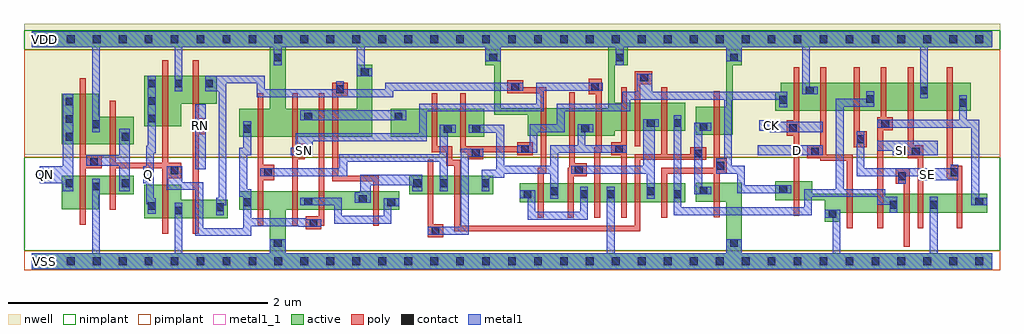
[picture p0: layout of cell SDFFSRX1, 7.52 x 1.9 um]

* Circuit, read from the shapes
.subckt SDFFSRX1 CK D Q QN RN SE SI SN VDD VSS
M1 VSS n1 QN VSS nfet w=0.26u l=0.045u
M2 n1 n2 VSS VSS nfet w=0.145u l=0.045u
M3 VSS n2 Q VSS nfet w=0.26u l=0.045u
M4 n3 RN VSS VSS nfet w=0.145u l=0.045u
M5 VSS n4 n2 VSS nfet w=0.145u l=0.045u
M6 n5 SN VSS VSS nfet w=0.145u l=0.045u
M7 n6 n2 n5 VSS nfet w=0.145u l=0.045u
M8 n5 n3 n6 VSS nfet w=0.145u l=0.045u
M9 n4 n7 n6 VSS nfet w=0.145u l=0.045u
M10 n8 n9 n4 VSS nfet w=0.145u l=0.045u
M11 n8 n3 n10 VSS nfet w=0.145u l=0.045u
M12 n10 n11 n8 VSS nfet w=0.145u l=0.045u
M13 VSS SN n10 VSS nfet w=0.145u l=0.045u
M14 n12 n8 VSS VSS nfet w=0.145u l=0.045u
M15 n11 n9 n12 VSS nfet w=0.145u l=0.045u
M16 n13 n7 n11 VSS nfet w=0.145u l=0.045u
M17 VSS n7 n9 VSS nfet w=0.145u l=0.045u
M18 VSS CK n7 VSS nfet w=0.145u l=0.045u
M19 n14 D VSS VSS nfet w=0.145u l=0.045u
M20 n13 n15 n14 VSS nfet w=0.145u l=0.045u
M21 n16 SE n13 VSS nfet w=0.145u l=0.045u
M22 VSS SI n16 VSS nfet w=0.145u l=0.045u
M23 n15 SE VSS VSS nfet w=0.145u l=0.045u
M24 VDD n1 QN VDD pfet w=0.39u l=0.045u
M25 n1 n2 VDD VDD pfet w=0.215u l=0.045u
M26 VDD n2 Q VDD pfet w=0.39u l=0.045u
M27 n3 RN VDD VDD pfet w=0.215u l=0.045u
M28 VDD n4 n2 VDD pfet w=0.215u l=0.045u
M29 n17 SN VDD VDD pfet w=0.215u l=0.045u
M30 n18 n2 n17 VDD pfet w=0.215u l=0.045u
M31 VDD n3 n18 VDD pfet w=0.215u l=0.045u
M32 n4 n9 n17 VDD pfet w=0.215u l=0.045u
M33 n8 n7 n4 VDD pfet w=0.215u l=0.045u
M34 n19 n3 VDD VDD pfet w=0.215u l=0.045u
M35 n8 n11 n19 VDD pfet w=0.215u l=0.045u
M36 VDD SN n8 VDD pfet w=0.215u l=0.045u
M37 n20 n8 VDD VDD pfet w=0.215u l=0.045u
M38 n11 n7 n20 VDD pfet w=0.215u l=0.045u
M39 n13 n9 n11 VDD pfet w=0.215u l=0.045u
M40 VDD n7 n9 VDD pfet w=0.215u l=0.045u
M41 VDD CK n7 VDD pfet w=0.215u l=0.045u
M42 n21 D VDD VDD pfet w=0.215u l=0.045u
M43 n13 SE n21 VDD pfet w=0.215u l=0.045u
M44 n22 n15 n13 VDD pfet w=0.215u l=0.045u
M45 VDD SI n22 VDD pfet w=0.215u l=0.045u
M46 n15 SE VDD VDD pfet w=0.215u l=0.045u
.ends

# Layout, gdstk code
import gdstk
lib = gdstk.Library(unit=1e-6, precision=5e-10)
def R(c, l, rs):  # rectangles x0, y0, x1, y1
    for r in rs: c.add(gdstk.rectangle(r[:2], r[2:], *l))
def A(c, l, x, y, w, h, nx, ny, dx, dy):  # array of equal rectangles
    R(c, l, [(x+i*dx, y+j*dy, x+i*dx+w, y+j*dy+h) for i in range(nx) for j in range(ny)])
def P(c, l, *ps):  # polygons
    for p in ps: c.add(gdstk.Polygon(p, *l))
active = (1, 0)
nwell = (2, 0)
poly = (3, 0)
nimplant = (4, 0)
pimplant = (5, 0)
contact = (6, 0)
metal1 = (7, 0)
metal1_1 = (7, 1)

sdffsrx1 = lib.new_cell('SDFFSRX1')
R(sdffsrx1, active, [(3.76,0.455,5.035,0.6), (2.91,0.515,3.555,0.66), (2.765,0.96,3.485,1.175)])
P(sdffsrx1, active, [(0,1.77),(7.4,1.77),(7.4,1.65),(5.47,1.65),(5.47,1.51),(5.4,1.51),(5.4,0.975),(5.115,0.975),(5.115,1.19),(5.35,1.19),(5.35,1.65),(4.59,1.65),(4.59,1.51),(4.49,1.51),(4.49,1.22),(5.035,1.22),(5.035,1.005),(4.49,1.005),(4.49,0.965),(3.82,0.965),(3.82,1.13),(3.565,1.13),(3.565,1.51),(3.495,1.51),(3.495,1.65),(3.615,1.65),(3.615,1.18),(4.44,1.18),(4.44,1.65),(1.955,1.65),(1.955,1.175),(2.505,1.175),(2.505,1.515),(2.625,1.515),(2.625,0.96),(1.6,0.96),(1.6,1.175),(1.835,1.175),(1.835,1.65),(0,1.65)],
  [(0.865,1.43),(1.425,1.43),(1.425,1.215),(1.15,1.215),(1.15,1.04),(0.865,1.04)],
  [(0.23,1.29),(0.515,1.29),(0.515,1.115),(0.785,1.115),(0.785,0.9),(0.23,0.9)],
  [(5.77,1.375),(7.235,1.375),(7.235,1.16),(5.73,1.16),(5.73,1.305),(5.77,1.305)],
  [(0.23,0.66),(0.785,0.66),(0.785,0.515),(0.515,0.515),(0.515,0.4),(0.23,0.4)],
  [(0.865,0.59),(1.15,0.59),(1.15,0.475),(1.51,0.475),(1.51,0.33),(0.865,0.33)],
  [(1.6,0.54),(2.83,0.54),(2.83,0.395),(1.955,0.395),(1.955,0.06),(5.35,0.06),(5.35,0.46),(5.115,0.46),(5.115,0.605),(5.47,0.605),(5.47,0.06),(7.4,0.06),(7.4,-0.06),(0,-0.06),(0,0.06),(1.835,0.06),(1.835,0.395),(1.6,0.395)],
  [(5.73,0.615),(6.015,0.615),(6.015,0.52),(7.36,0.52),(7.36,0.375),(6.23,0.375),(6.23,0.305),(6.11,0.305),(6.11,0.47),(5.73,0.47)])
R(sdffsrx1, nwell, [(-0.06,0.82,7.46,1.83)])
P(sdffsrx1, poly, [(0.37,1.41),(0.415,1.41),(0.415,0.815),(0.54,0.815),(0.54,0.715),(0.415,0.715),(0.415,0.28),(0.37,0.28)],
  [(0.6,1.235),(0.645,1.235),(0.645,0.76),(1.005,0.76),(1.005,1.55),(1.05,1.55),(1.05,0.76),(1.15,0.76),(1.15,0.64),(1.05,0.64),(1.05,0.21),(1.005,0.21),(1.005,0.715),(0.645,0.715),(0.645,0.395),(0.6,0.395)],
  [(1.24,1.55),(1.285,1.55),(1.285,1.1),(1.34,1.1),(1.34,0.98),(1.285,0.98),(1.285,0.21),(1.24,0.21)],
  [(1.74,1.295),(1.785,1.295),(1.785,0.745),(1.87,0.745),(1.87,0.625),(1.785,0.625),(1.785,0.275),(1.74,0.275)],
  [(2.315,1.375),(2.435,1.375),(2.435,1.275),(2.36,1.275),(2.36,0.66),(2.675,0.66),(2.675,0.275),(2.63,0.275),(2.63,0.615),(2.315,0.615)],
  [(2.005,1.295),(2.05,1.295),(2.05,0.905),(2.105,0.905),(2.105,0.785),(2.05,0.785),(2.05,0.275),(2.005,0.275)],
  [(2.21,1.295),(2.255,1.295),(2.255,0.275),(2.23,0.275),(2.23,0.245),(2.11,0.245),(2.11,0.345),(2.21,0.345)],
  [(3.08,1.295),(3.125,1.295),(3.125,0.885),(3.24,0.885),(3.24,0.78),(3.3,0.78),(3.3,0.275),(4.645,0.275),(4.645,0.825),(4.85,0.825),(4.85,1.34),(4.895,1.34),(4.895,0.825),(5.075,0.825),(5.075,0.88),(5.195,0.88),(5.195,0.78),(4.69,0.78),(4.69,0.23),(3.255,0.23),(3.255,0.735),(3.195,0.735),(3.195,0.84),(3.08,0.84)],
  [(3.3,1.295),(3.345,1.295),(3.345,0.885),(3.74,0.885),(3.74,0.915),(3.86,0.915),(3.86,0.815),(3.74,0.815),(3.74,0.84),(3.48,0.84),(3.48,0.785),(3.36,0.785),(3.36,0.84),(3.3,0.84)],
  [(4.29,1.405),(4.39,1.405),(4.39,0.845),(4.38,0.845),(4.38,0.335),(4.335,0.335),(4.335,0.88),(4.345,0.88),(4.345,1.285),(4.29,1.285)],
  [(3.665,1.395),(3.785,1.395),(3.785,1.34),(3.965,1.34),(3.965,0.675),(3.945,0.675),(3.945,0.335),(3.9,0.335),(3.9,0.72),(3.92,0.72),(3.92,1.295),(3.665,1.295)],
  [(4.14,1.3),(4.185,1.3),(4.185,0.755),(4.275,0.755),(4.275,0.655),(4.175,0.655),(4.175,0.335),(4.13,0.335),(4.13,0.72),(4.14,0.72)],
  [(4.645,1.465),(4.78,1.465),(4.78,1.365),(4.69,1.365),(4.69,0.885),(4.645,0.885)],
  [(4.54,1.34),(4.585,1.34),(4.585,0.335),(4.54,0.335),(4.54,0.815),(4.465,0.815),(4.465,0.915),(4.54,0.915)],
  [(5.255,1.31),(5.3,1.31),(5.3,0.795),(5.355,0.795),(5.355,0.675),(5.3,0.675),(5.3,0.34),(5.255,0.34),(5.255,0.675),(4.895,0.675),(4.895,0.335),(4.85,0.335),(4.85,0.72),(5.255,0.72)],
  [(5.87,1.495),(5.915,1.495),(5.915,0.35),(5.87,0.35),(5.87,0.965),(5.815,0.965),(5.815,1.085),(5.87,1.085)],
  [(6.075,1.495),(6.12,1.495),(6.12,0.82),(6.325,0.82),(6.325,0.255),(6.28,0.255),(6.28,0.775),(6.075,0.775),(6.075,0.795),(5.975,0.795),(5.975,0.895),(6.075,0.895)],
  [(6.335,1.495),(6.38,1.495),(6.38,1),(6.435,1),(6.435,0.88),(6.335,0.88)],
  [(6.54,1.495),(6.585,1.495),(6.585,1.11),(6.635,1.11),(6.635,1.01),(6.56,1.01),(6.56,0.255),(6.515,0.255),(6.515,1.11),(6.54,1.11)],
  [(6.75,1.495),(6.795,1.495),(6.795,0.895),(6.87,0.895),(6.87,0.255),(6.825,0.255),(6.825,0.795),(6.75,0.795)],
  [(7.05,1.495),(7.095,1.495),(7.095,0.735),(7.17,0.735),(7.17,0.255),(7.125,0.255),(7.125,0.635),(7.05,0.635)],
  [(3.05,0.78),(3.095,0.78),(3.095,0.285),(3.17,0.285),(3.17,0.185),(3.05,0.185)],
  [(6.655,0.715),(6.765,0.715),(6.765,0.11),(6.72,0.11),(6.72,0.595),(6.655,0.595)])
R(sdffsrx1, nimplant, [(-0.06,0.08,7.46,0.8), (-0.06,1.63,7.46,1.78)])
R(sdffsrx1, pimplant, [(-0.06,-0.07,7.46,0.08), (-0.06,0.8,7.46,1.63)])
A(sdffsrx1, contact, 0.07, -0.03, 0.06, 0.06, 37, 2, 0.2, 1.71)
A(sdffsrx1, contact, 0.26, 0.93, 0.06, 0.06, 1, 3, 0, 0.135)
A(sdffsrx1, contact, 0.895, 1.07, 0.06, 0.06, 1, 3, 0, 0.135)
R(sdffsrx1, contact, [(1.865,0.11,1.925,0.17), (5.38,0.11,5.44,0.17), (3.08,0.205,3.14,0.265), (2.14,0.265,2.2,0.325), (6.14,0.335,6.2,0.395), (1.1,0.36,1.16,0.42), (1.42,0.385,1.48,0.445), (0.895,0.395,0.955,0.455), (6.61,0.405,6.67,0.465), (6.92,0.405,6.98,0.465), (1.63,0.425,1.69,0.485), (2.74,0.425,2.8,0.485), (2.1,0.43,2.16,0.49), (7.27,0.43,7.33,0.49), (2.52,0.45,2.58,0.51), (3.79,0.485,3.85,0.545), (4.225,0.485,4.285,0.545), (4.43,0.485,4.49,0.545), (4.945,0.485,5.005,0.545), (3.995,0.51,4.055,0.57), (4.74,0.51,4.8,0.57), (5.145,0.515,5.205,0.575), (5.76,0.525,5.82,0.585), (0.465,0.545,0.525,0.605), (0.26,0.57,0.32,0.63), (0.695,0.57,0.755,0.63), (2.94,0.57,3,0.63), (3.145,0.57,3.205,0.63), (3.465,0.57,3.525,0.63), (6.675,0.625,6.735,0.685), (1.79,0.655,1.85,0.715), (7.08,0.655,7.14,0.715), (1.07,0.67,1.13,0.73), (4.185,0.675,4.245,0.735), (5.275,0.705,5.335,0.765), (0.45,0.735,0.51,0.795), (5.105,0.8,5.165,0.86), (3.39,0.805,3.45,0.865), (2.025,0.815,2.085,0.875), (6.005,0.815,6.065,0.875), (6.78,0.815,6.84,0.875), (3.77,0.835,3.83,0.895), (4.495,0.835,4.555,0.895), (6.355,0.91,6.415,0.97), (0.695,0.93,0.755,0.99), (1.63,0.99,1.69,1.05), (3.175,0.99,3.235,1.05), (3.395,0.99,3.455,1.05), (4.235,0.995,4.295,1.055), (5.835,0.995,5.895,1.055), (5.145,1.005,5.205,1.065), (1.26,1.01,1.32,1.07), (0.465,1.025,0.525,1.085), (6.545,1.03,6.605,1.09), (4.74,1.035,4.8,1.095), (4.945,1.035,5.005,1.095), (2.1,1.085,2.16,1.145), (2.795,1.085,2.855,1.145), (7.145,1.19,7.205,1.25), (5.76,1.215,5.82,1.275), (6.43,1.22,6.49,1.28), (5.965,1.285,6.025,1.345), (6.845,1.285,6.905,1.345), (2.345,1.295,2.405,1.355), (3.695,1.315,3.755,1.375), (4.31,1.315,4.37,1.375), (1.1,1.34,1.16,1.4), (1.335,1.34,1.395,1.4), (4.69,1.385,4.75,1.445), (2.535,1.425,2.595,1.485), (1.865,1.54,1.925,1.6), (3.525,1.54,3.585,1.6), (4.5,1.54,4.56,1.6), (5.38,1.54,5.44,1.6)])
R(sdffsrx1, metal1, [(1.26,0.71,1.34,1.21), (5.595,0.815,6.095,0.895), (2.07,1.085,2.885,1.165)])
P(sdffsrx1, metal1, [(0,1.77),(7.4,1.77),(7.4,1.65),(6.905,1.65),(6.905,1.255),(6.845,1.255),(6.845,1.65),(5.995,1.65),(5.995,1.345),(6.055,1.345),(6.055,1.285),(5.935,1.285),(5.935,1.65),(5.47,1.65),(5.47,1.54),(5.35,1.54),(5.35,1.65),(4.56,1.65),(4.56,1.51),(4.5,1.51),(4.5,1.65),(3.615,1.65),(3.615,1.54),(3.495,1.54),(3.495,1.65),(2.565,1.65),(2.565,1.485),(2.625,1.485),(2.625,1.425),(2.505,1.425),(2.505,1.65),(1.925,1.65),(1.925,1.51),(1.865,1.51),(1.865,1.65),(1.16,1.65),(1.16,1.31),(1.1,1.31),(1.1,1.65),(0.525,1.65),(0.525,0.995),(0.465,0.995),(0.465,1.65),(0,1.65)],
  [(0.24,1.29),(0.32,1.29),(0.32,0.54),(0.24,0.54),(0.24,0.6),(0.06,0.6),(0.06,0.73),(0.24,0.73)],
  [(0.895,1.43),(0.955,1.43),(0.955,0.83),(0.94,0.83),(0.94,0.485),(0.955,0.485),(0.955,0.365),(0.895,0.365),(0.895,0.44),(0.88,0.44),(0.88,0.6),(0.86,0.6),(0.86,0.73),(0.88,0.73),(0.88,0.89),(0.895,0.89)],
  [(0.675,1.02),(0.755,1.02),(0.755,0.54),(0.675,0.54),(0.675,0.735),(0.42,0.735),(0.42,0.815),(0.675,0.815)],
  [(1.335,1.43),(1.795,1.43),(1.795,1.325),(2.345,1.325),(2.345,1.385),(2.405,1.385),(2.405,1.325),(2.725,1.325),(2.725,1.375),(3.785,1.375),(3.785,1.315),(2.785,1.315),(2.785,1.265),(1.735,1.265),(1.735,1.37),(1.5,1.37),(1.5,0.43),(1.48,0.43),(1.48,0.355),(1.42,0.355),(1.42,0.49),(1.44,0.49),(1.44,1.31),(1.335,1.31)],
  [(3.885,1.375),(4.4,1.375),(4.4,1.315),(3.945,1.315),(3.945,1.155),(3.045,1.155),(3.045,0.925),(2.165,0.925),(2.165,0.815),(1.995,0.815),(1.995,0.875),(2.035,0.875),(2.035,0.985),(2.985,0.985),(2.985,1.215),(3.885,1.215)],
  [(4.66,1.445),(4.78,1.445),(4.78,1.305),(5.82,1.305),(5.82,1.185),(5.76,1.185),(5.76,1.245),(5.395,1.245),(5.395,0.735),(5.495,0.735),(5.495,0.585),(5.85,0.585),(5.85,0.525),(5.435,0.525),(5.435,0.675),(5.275,0.675),(5.275,0.795),(5.335,0.795),(5.335,1.245),(4.61,1.245),(4.61,1.155),(4.105,1.155),(4.105,0.995),(3.895,0.995),(3.895,0.835),(3.74,0.835),(3.74,0.895),(3.835,0.895),(3.835,1.055),(4.045,1.055),(4.045,1.215),(4.55,1.215),(4.55,1.305),(4.66,1.305)],
  [(0.465,0.635),(0.525,0.635),(0.525,0.06),(1.1,0.06),(1.1,0.45),(1.16,0.45),(1.16,0.06),(1.835,0.06),(1.835,0.17),(1.955,0.17),(1.955,0.06),(4.43,0.06),(4.43,0.575),(4.49,0.575),(4.49,0.06),(5.35,0.06),(5.35,0.17),(5.47,0.17),(5.47,0.06),(6.17,0.06),(6.17,0.335),(6.11,0.335),(6.11,0.395),(6.23,0.395),(6.23,0.06),(6.92,0.06),(6.92,0.495),(6.98,0.495),(6.98,0.06),(7.4,0.06),(7.4,-0.06),(0,-0.06),(0,0.06),(0.465,0.06)],
  [(1.63,1.08),(1.69,1.08),(1.69,0.815),(1.66,0.815),(1.66,0.555),(1.69,0.555),(1.69,0.33),(2.115,0.33),(2.115,0.325),(2.23,0.325),(2.23,0.265),(2.055,0.265),(2.055,0.27),(1.69,0.27),(1.69,0.195),(1.26,0.195),(1.26,0.55),(1.04,0.55),(1.04,0.73),(1.16,0.73),(1.16,0.61),(1.32,0.61),(1.32,0.255),(1.63,0.255),(1.63,0.495),(1.6,0.495),(1.6,0.875),(1.63,0.875)],
  [(6.43,1.31),(6.49,1.31),(6.49,1.19),(6.255,1.19),(6.255,0.555),(6.575,0.555),(6.575,0.495),(6.67,0.495),(6.67,0.375),(6.61,0.375),(6.61,0.435),(6.515,0.435),(6.515,0.495),(6.01,0.495),(6.01,0.355),(4.945,0.355),(4.945,1.125),(5.005,1.125),(5.005,0.415),(5.95,0.415),(5.95,0.555),(6.195,0.555),(6.195,1.25),(6.43,1.25)],
  [(3.145,1.05),(3.265,1.05),(3.265,0.99),(3.205,0.99),(3.205,0.54),(3.145,0.54),(3.145,0.765),(2.43,0.765),(2.43,0.655),(1.76,0.655),(1.76,0.715),(2.37,0.715),(2.37,0.825),(3.145,0.825)],
  [(3.365,1.05),(3.64,1.05),(3.64,0.735),(3.995,0.735),(3.995,0.895),(4.205,0.895),(4.205,1.055),(4.325,1.055),(4.325,0.995),(4.265,0.995),(4.265,0.895),(4.585,0.895),(4.585,0.835),(4.055,0.835),(4.055,0.48),(3.995,0.48),(3.995,0.675),(3.64,0.675),(3.64,0.645),(3.525,0.645),(3.525,0.54),(3.465,0.54),(3.465,0.705),(3.58,0.705),(3.58,0.99),(3.365,0.99)],
  [(2.53,0.665),(3.01,0.665),(3.01,0.54),(2.93,0.54),(2.93,0.585),(2.61,0.585),(2.61,0.45),(2.49,0.45),(2.49,0.53),(2.53,0.53)],
  [(2.07,0.49),(2.39,0.49),(2.39,0.35),(2.71,0.35),(2.71,0.485),(2.83,0.485),(2.83,0.425),(2.77,0.425),(2.77,0.29),(2.33,0.29),(2.33,0.43),(2.07,0.43)],
  [(3.305,0.865),(3.48,0.865),(3.48,0.805),(3.365,0.805),(3.365,0.205),(3.05,0.205),(3.05,0.265),(3.305,0.265)],
  [(4.71,1.095),(4.83,1.095),(4.83,1.035),(4.8,1.035),(4.8,0.48),(4.74,0.48),(4.74,0.675),(4.155,0.675),(4.155,0.735),(4.71,0.735)],
  [(3.76,0.545),(3.88,0.545),(3.88,0.38),(4.225,0.38),(4.225,0.575),(4.285,0.575),(4.285,0.32),(3.82,0.32),(3.82,0.485),(3.76,0.485)],
  [(5.105,1.065),(5.235,1.065),(5.235,1.005),(5.165,1.005),(5.165,0.575),(5.235,0.575),(5.235,0.515),(5.105,0.515)],
  [(7.145,1.28),(7.205,1.28),(7.205,1.09),(7.3,1.09),(7.3,0.49),(7.36,0.49),(7.36,0.43),(7.24,0.43),(7.24,1.03),(6.515,1.03),(6.515,1.09),(7.145,1.09)],
  [(5.605,1.085),(5.765,1.085),(5.765,1.075),(6.095,1.075),(6.095,0.995),(5.685,0.995),(5.685,1.005),(5.605,1.005)],
  [(6.355,1),(6.415,1),(6.415,0.715),(7.08,0.715),(7.08,0.745),(7.14,0.745),(7.14,0.625),(6.835,0.625),(6.835,0.655),(6.735,0.655),(6.735,0.595),(6.675,0.595),(6.675,0.655),(6.355,0.655)],
  [(6.515,0.93),(6.98,0.93),(6.98,0.815),(6.635,0.815),(6.635,0.85),(6.515,0.85)])
R(sdffsrx1, metal1_1, [(0.06,-0.04,0.14,0.04), (0.06,0.625,0.14,0.705), (0.86,0.625,0.94,0.705), (6.86,0.625,6.94,0.705), (2.06,0.815,2.14,0.895), (5.86,0.815,5.94,0.895), (6.66,0.815,6.74,0.895), (1.26,1.005,1.34,1.085), (5.66,1.005,5.74,1.085), (0.06,1.67,0.14,1.75)])
sdffsrx1.add(gdstk.Label('Q', (0.9,0.665), layer=7, texttype=1))
sdffsrx1.add(gdstk.Label('QN', (0.1,0.665), layer=7, texttype=1))
sdffsrx1.add(gdstk.Label('SE', (6.9,0.665), layer=7, texttype=1))
sdffsrx1.add(gdstk.Label('SI', (6.7,0.855), layer=7, texttype=1))
sdffsrx1.add(gdstk.Label('D', (5.9,0.855), layer=7, texttype=1))
sdffsrx1.add(gdstk.Label('CK', (5.7,1.045), layer=7, texttype=1))
sdffsrx1.add(gdstk.Label('SN', (2.1,0.855), layer=7, texttype=1))
sdffsrx1.add(gdstk.Label('RN', (1.3,1.045), layer=7, texttype=1))
sdffsrx1.add(gdstk.Label('VDD', (0.1,1.71), layer=7, texttype=1))
sdffsrx1.add(gdstk.Label('VSS', (0.1,0), layer=7, texttype=1))
sdffsrx1.add(gdstk.Label('SDFFSRX1', (0,0), layer=63, texttype=0))

lib.write_gds('SDFFSRX1.gds')
